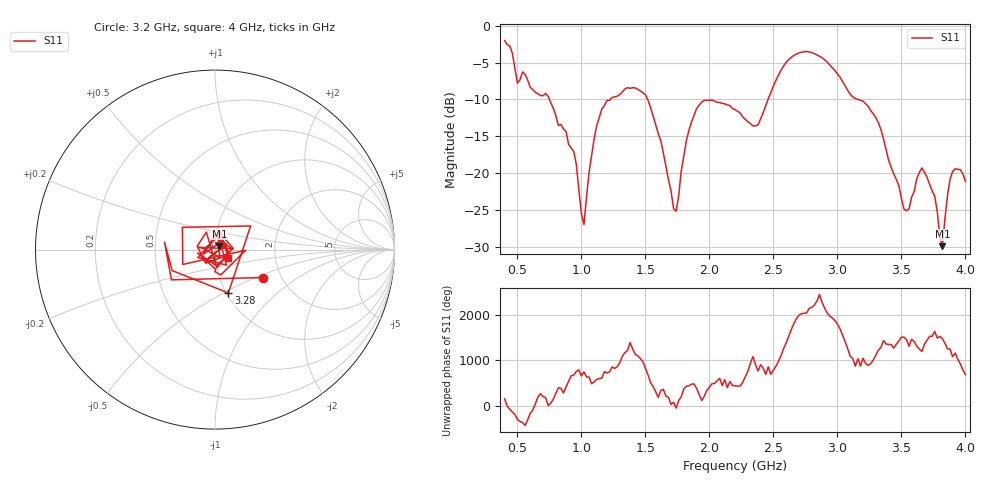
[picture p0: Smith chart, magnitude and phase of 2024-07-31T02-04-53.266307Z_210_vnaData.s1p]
!Created with skrf (http://scikit-rf.org).
# Hz S RI R 50.0
!freq ReS11 ImS11
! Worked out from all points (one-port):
!   181 points, 400 MHz to 4 GHz, reference 50 ohm
!   lowest |S11| = -29.9 dB at 3.82 GHz (marker M1), VSWR 1.07, Z = 52.5 + j2.19 ohm
!   |S11| at or under -10 dB: 750 MHz to 1.226 GHz (476.1 MHz wide, 48.2 % of centre); 1.518 GHz to 2.458 GHz (940 MHz wide, 47.3 % of centre); 3.161 GHz to end of sweep
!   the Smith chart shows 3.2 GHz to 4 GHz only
!   S11 on the Smith chart (normalised r, x): 3.2 GHz: 1.61, -0.55; 3.28 GHz: 1.02, -0.53; 4 GHz: 1.16, -0.11
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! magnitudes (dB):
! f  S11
! 400 MHz  -2.0
! 500 MHz  -7.8
! 720 MHz  -9.2
! 860 MHz  -14.0
! 940 MHz  -17.0
! 1.02 GHz  -27.0
! 1.12 GHz  -13.5
! 1.3 GHz  -9.3
! 1.5 GHz  -9.4
! 1.62 GHz  -15.6
! 1.72 GHz  -24.8
! 1.76 GHz  -23.1
! 1.82 GHz  -15.6
! 1.9 GHz  -11.2
! 2.2 GHz  -11.4
! 2.38 GHz  -13.4
! 2.66 GHz  -4.0
! 2.88 GHz  -4.4
! 3.1 GHz  -9.3
! 3.2 GHz  -10.2
! 3.28 GHz  -11.9
! 3.52 GHz  -24.8
! 3.56 GHz  -24.8
! 3.66 GHz  -19.3
! 3.76 GHz  -23.1
! 3.82 GHz  -29.9
! 3.9 GHz  -19.8
! 4 GHz  -21.1
